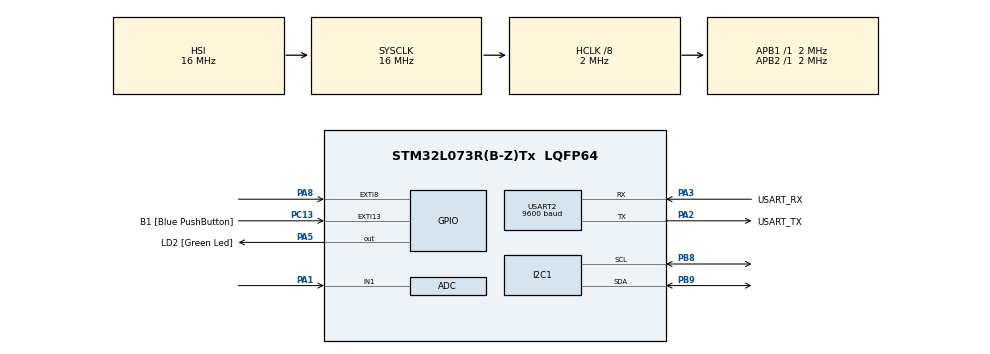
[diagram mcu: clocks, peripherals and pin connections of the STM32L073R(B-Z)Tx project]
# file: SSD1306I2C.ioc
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ADC.ContinuousConvMode=ENABLE
I2C1.Timing=0x00000509
Mcu.Family=STM32L0
Mcu.Name=STM32L073R(B-Z)Tx
Mcu.Package=LQFP64
NVIC.EXTI4_15_IRQn=true\:0\:0\:false\:false\:true\:true\:true\:true
NVIC.TIM6_DAC_IRQn=true\:0\:0\:false\:false\:true\:true\:true\:true
NVIC.TIM7_IRQn=true\:0\:0\:false\:false\:true\:true\:true\:true
PA1.Mode=IN1
PA1.Signal=ADC_IN1
PA13.GPIO_Label=TMS
PA13.Mode=Serial_Wire
PA13.Signal=SYS_SWDIO
PA14.GPIO_Label=TCK
PA14.Mode=Serial_Wire
PA14.Signal=SYS_SWCLK
PA2.GPIO_Label=USART_TX
PA2.Mode=Asynchronous
PA2.Signal=USART2_TX
PA3.GPIO_Label=USART_RX
PA3.Mode=Asynchronous
PA3.Signal=USART2_RX
PA5.GPIO_Label=LD2 [Green Led]
PA5.Signal=GPIO_Output
PA8.Signal=GPXTI8
PB8.GPIO_Pu=GPIO_PULLUP
PB8.Mode=I2C
PB8.Signal=I2C1_SCL
PB9.GPIO_Pu=GPIO_PULLUP
PB9.Mode=I2C
PB9.Signal=I2C1_SDA
PC13.GPIO_Label=B1 [Blue PushButton]
PC13.GPIO_ModeDefaultEXTI=GPIO_MODE_IT_FALLING
PC13.Signal=GPXTI13
PC14-OSC32_IN.Mode=LSE-External-Oscillator
PC14-OSC32_IN.Signal=RCC_OSC32_IN
PC15-OSC32_OUT.Mode=LSE-External-Oscillator
PC15-OSC32_OUT.Signal=RCC_OSC32_OUT
PH0-OSC_IN.GPIO_Label=MCO
PH0-OSC_IN.Mode=HSE-External-Clock-Source
PH0-OSC_IN.Signal=RCC_OSC_IN
ProjectManager.HeapSize=0x200
ProjectManager.StackSize=0x400
ProjectManager.TargetToolchain=STM32CubeIDE
RCC.AHBCLKDivider=RCC_SYSCLK_DIV8
RCC.AHBFreq_Value=2000000
RCC.APB1Freq_Value=2000000
RCC.APB1TimFreq_Value=2000000
RCC.APB2Freq_Value=2000000
RCC.APB2TimFreq_Value=2000000
RCC.HCLKFreq_Value=2000000
RCC.HSE_VALUE=8000000
RCC.HSI16_VALUE=16000000
RCC.HSI48_VALUE=48000000
RCC.HSI_VALUE=16000000
RCC.MSI_VALUE=2097000
RCC.SYSCLKFreq_VALUE=16000000
RCC.SYSCLKSource=RCC_SYSCLKSOURCE_HSI
RCC.VCOOutputFreq_Value=48000000
TIM6.Period=2000-1
TIM7.Period=1000-1
TIM7.Prescaler=20000-1
USART2.BaudRate=9600
USART2.VirtualMode-Asynchronous=VM_ASYNC
VP_TIM6_VS_ClockSourceINT.Mode=Enable_Timer
VP_TIM7_VS_ClockSourceINT.Mode=Enable_Timer
board=NUCLEO-L073RZ

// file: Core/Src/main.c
/* USER CODE BEGIN Header */
/**
  ******************************************************************************
  * @file           : main.c
  * @brief          : Main program body
  ******************************************************************************
  * @attention
  *
  * Copyright (c) 2024 STMicroelectronics.
  * All rights reserved.
  *
  * This software is licensed under terms that can be found in the LICENSE file
  * in the root directory of this software component.
  * If no LICENSE file comes with this software, it is provided AS-IS.
  *
  ******************************************************************************
  */
/* USER CODE END Header */
#include "main.h"

/* USER CODE BEGIN Includes */
#include "ssd1306.h"
#include "ssd1306_fonts.h"
#include "ssd1306_tests.h"
#include "ssd1306_conf.h"
#include "stdio.h"
/* USER CODE END Includes */

ADC_HandleTypeDef hadc;

I2C_HandleTypeDef hi2c1;

TIM_HandleTypeDef htim6;
TIM_HandleTypeDef htim7;

UART_HandleTypeDef huart2;

void SystemClock_Config(void);
static void MX_GPIO_Init(void);
static void MX_I2C1_Init(void);
static void MX_USART2_UART_Init(void);
static void MX_TIM6_Init(void);
static void MX_ADC_Init(void);
static void MX_TIM7_Init(void);

/* USER CODE BEGIN 0 */
int suvis = 0;
uint32_t adcValue;
float itampa = 0.0;
char suvis_display[40];
char itampa_display[40];
typedef enum {DATA_READY,DATA_WAIT,DATA_RESET}SData;
SData status = DATA_WAIT;
int measureVoltage = 0;
uint8_t suvis_total = 0;
uint8_t pertaisymai = 0;

uint8_t time = 0;

char rx_data[10];
uint8_t rx_index = 0;
char rx_char;
char buff[12];

#ifdef __GNUC__
#define PUTCHAR_PROTOTYPE int __io_putchar(int ch)
#else
#define PUTCHAR_PROTOTYPE int fputc(int ch, FILE *f)
#endif

PUTCHAR_PROTOTYPE
{
  HAL_UART_Transmit(&huart2, (uint8_t *)&ch, 1, HAL_MAX_DELAY);
  return ch;
}

void update_suvis()
{
	  sprintf(suvis_display,"S:%d     ",suvis);
	  ssd1306_SetCursor(0, 0);
	  ssd1306_WriteString(suvis_display,Font_16x15,White);
	  ssd1306_UpdateScreen();
}
void update_itampa()
{
	  sprintf(itampa_display,"U:%0.1fV",itampa);
	  ssd1306_SetCursor(0,15);
	  ssd1306_WriteString(itampa_display,Font_16x15,White);
	  ssd1306_UpdateScreen();
}

void HAL_GPIO_EXTI_Callback(uint16_t GPIO_Pin)
{
	if(GPIO_Pin == GPIO_PIN_8)
	{
		status = DATA_READY;
		suvis = suvis + 1;
		suvis_total = suvis_total + 1;
		HAL_TIM_Base_Start_IT(&htim6);
		HAL_NVIC_DisableIRQ(EXTI4_15_IRQn);
	}
	if(GPIO_Pin == GPIO_PIN_13)
	{
		status = DATA_RESET;
		suvis = 0;
		pertaisymai++;
	}
}
void HAL_TIM_PeriodElapsedCallback(TIM_HandleTypeDef *htim) {
    if (htim->Instance == TIM6) {
        HAL_NVIC_EnableIRQ(EXTI4_15_IRQn);
        HAL_TIM_Base_Stop(&htim6);
    }
    if (htim->Instance == TIM7) {
            measureVoltage = 1;
            time = time + 1;
        }

}
void sendData()
{
	snprintf(buff,12,"S %d %d %0.1f %d",suvis_total,pertaisymai,itampa,time);

}
/* USER CODE END 0 */

int main(void)
{

  /* MCU Configuration--------------------------------------------------------*/

  /* Reset of all peripherals, Initializes the Flash interface and the Systick. */
  HAL_Init();

  /* Configure the system clock */
  SystemClock_Config();

  /* Initialize all configured peripherals */
  MX_GPIO_Init();
  MX_I2C1_Init();
  MX_USART2_UART_Init();
  MX_TIM6_Init();
  MX_ADC_Init();
  MX_TIM7_Init();
  /* USER CODE BEGIN 2 */
  ssd1306_Init();

  update_suvis();
  update_itampa();
  HAL_TIM_Base_Start_IT(&htim7);

  /* USER CODE END 2 */

  /* Infinite loop */
  /* USER CODE BEGIN WHILE */
  while (1)
  {
	  if(HAL_UART_Receive(&huart2, (uint8_t*)&rx_char, 1, HAL_MAX_DELAY) == HAL_OK)
	  {

		  if (rx_char == 'A')
		  {

			  sendData();
			  printf("%s E\n",buff);
			  HAL_UART_Receive(&huart2, (uint8_t*)&rx_char, 1, HAL_MAX_DELAY);
			  suvis_total = 0;
			  time = 0;
			  pertaisymai = 0;

		  }

	  }
	  if(measureVoltage){
		  float koef = 3.3/4095;
		  float dal_it = 0.0;
		  float R1 = 180;
		  float R2 = 120;
		  measureVoltage = 0;
		  HAL_ADC_Start(&hadc);
	      HAL_ADC_PollForConversion(&hadc, HAL_MAX_DELAY);
	      adcValue = HAL_ADC_GetValue(&hadc);

	      dal_it = adcValue*koef;
	      itampa = dal_it*(R1+R2)/R2;
	      update_itampa();
	  }
	  if(status == DATA_READY || status == DATA_RESET){
		  update_suvis();
		  status = DATA_WAIT;
	  }

    /* USER CODE END WHILE */

  }
}

void SystemClock_Config(void)
{
  RCC_OscInitTypeDef RCC_OscInitStruct = {0};
  RCC_ClkInitTypeDef RCC_ClkInitStruct = {0};
  RCC_PeriphCLKInitTypeDef PeriphClkInit = {0};

  /** Configure the main internal regulator output voltage
  */
  __HAL_PWR_VOLTAGESCALING_CONFIG(PWR_REGULATOR_VOLTAGE_SCALE1);

  /** Initializes the RCC Oscillators according to the specified parameters
  * in the RCC_OscInitTypeDef structure.
  */
  RCC_OscInitStruct.OscillatorType = RCC_OSCILLATORTYPE_HSI;
  RCC_OscInitStruct.HSIState = RCC_HSI_ON;
  RCC_OscInitStruct.HSICalibrationValue = RCC_HSICALIBRATION_DEFAULT;
  RCC_OscInitStruct.PLL.PLLState = RCC_PLL_NONE;
  if (HAL_RCC_OscConfig(&RCC_OscInitStruct) != HAL_OK)
  {
    Error_Handler();
  }

  /** Initializes the CPU, AHB and APB buses clocks
  */
  RCC_ClkInitStruct.ClockType = RCC_CLOCKTYPE_HCLK|RCC_CLOCKTYPE_SYSCLK
                              |RCC_CLOCKTYPE_PCLK1|RCC_CLOCKTYPE_PCLK2;
  RCC_ClkInitStruct.SYSCLKSource = RCC_SYSCLKSOURCE_HSI;
  RCC_ClkInitStruct.AHBCLKDivider = RCC_SYSCLK_DIV8;
  RCC_ClkInitStruct.APB1CLKDivider = RCC_HCLK_DIV1;
  RCC_ClkInitStruct.APB2CLKDivider = RCC_HCLK_DIV1;

  if (HAL_RCC_ClockConfig(&RCC_ClkInitStruct, FLASH_LATENCY_0) != HAL_OK)
  {
    Error_Handler();
  }
  PeriphClkInit.PeriphClockSelection = RCC_PERIPHCLK_USART2|RCC_PERIPHCLK_I2C1;
  PeriphClkInit.Usart2ClockSelection = RCC_USART2CLKSOURCE_PCLK1;
  PeriphClkInit.I2c1ClockSelection = RCC_I2C1CLKSOURCE_PCLK1;
  if (HAL_RCCEx_PeriphCLKConfig(&PeriphClkInit) != HAL_OK)
  {
    Error_Handler();
  }
}

static void MX_ADC_Init(void)
{

  ADC_ChannelConfTypeDef sConfig = {0};

  /** Configure the global features of the ADC (Clock, Resolution, Data Alignment and number of conversion)
  */
  hadc.Instance = ADC1;
  hadc.Init.OversamplingMode = DISABLE;
  hadc.Init.ClockPrescaler = ADC_CLOCK_SYNC_PCLK_DIV2;
  hadc.Init.Resolution = ADC_RESOLUTION_12B;
  hadc.Init.SamplingTime = ADC_SAMPLETIME_1CYCLE_5;
  hadc.Init.ScanConvMode = ADC_SCAN_DIRECTION_FORWARD;
  hadc.Init.DataAlign = ADC_DATAALIGN_RIGHT;
  hadc.Init.ContinuousConvMode = ENABLE;
  hadc.Init.DiscontinuousConvMode = DISABLE;
  hadc.Init.ExternalTrigConvEdge = ADC_EXTERNALTRIGCONVEDGE_NONE;
  hadc.Init.ExternalTrigConv = ADC_SOFTWARE_START;
  hadc.Init.DMAContinuousRequests = DISABLE;
  hadc.Init.EOCSelection = ADC_EOC_SINGLE_CONV;
  hadc.Init.Overrun = ADC_OVR_DATA_PRESERVED;
  hadc.Init.LowPowerAutoWait = DISABLE;
  hadc.Init.LowPowerFrequencyMode = ENABLE;
  hadc.Init.LowPowerAutoPowerOff = DISABLE;
  if (HAL_ADC_Init(&hadc) != HAL_OK)
  {
    Error_Handler();
  }

  /** Configure for the selected ADC regular channel to be converted.
  */
  sConfig.Channel = ADC_CHANNEL_1;
  sConfig.Rank = ADC_RANK_CHANNEL_NUMBER;
  if (HAL_ADC_ConfigChannel(&hadc, &sConfig) != HAL_OK)
  {
    Error_Handler();
  }

}

static void MX_I2C1_Init(void)
{

  hi2c1.Instance = I2C1;
  hi2c1.Init.Timing = 0x00000509;
  hi2c1.Init.OwnAddress1 = 0;
  hi2c1.Init.AddressingMode = I2C_ADDRESSINGMODE_7BIT;
  hi2c1.Init.DualAddressMode = I2C_DUALADDRESS_DISABLE;
  hi2c1.Init.OwnAddress2 = 0;
  hi2c1.Init.OwnAddress2Masks = I2C_OA2_NOMASK;
  hi2c1.Init.GeneralCallMode = I2C_GENERALCALL_DISABLE;
  hi2c1.Init.NoStretchMode = I2C_NOSTRETCH_DISABLE;
  if (HAL_I2C_Init(&hi2c1) != HAL_OK)
  {
    Error_Handler();
  }

  /** Configure Analogue filter
  */
  if (HAL_I2CEx_ConfigAnalogFilter(&hi2c1, I2C_ANALOGFILTER_ENABLE) != HAL_OK)
  {
    Error_Handler();
  }

  /** Configure Digital filter
  */
  if (HAL_I2CEx_ConfigDigitalFilter(&hi2c1, 0) != HAL_OK)
  {
    Error_Handler();
  }

}

static void MX_TIM6_Init(void)
{

  TIM_MasterConfigTypeDef sMasterConfig = {0};

  htim6.Instance = TIM6;
  htim6.Init.Prescaler = 0;
  htim6.Init.CounterMode = TIM_COUNTERMODE_UP;
  htim6.Init.Period = 2000-1;
  htim6.Init.AutoReloadPreload = TIM_AUTORELOAD_PRELOAD_DISABLE;
  if (HAL_TIM_Base_Init(&htim6) != HAL_OK)
  {
    Error_Handler();
  }
  sMasterConfig.MasterOutputTrigger = TIM_TRGO_RESET;
  sMasterConfig.MasterSlaveMode = TIM_MASTERSLAVEMODE_DISABLE;
  if (HAL_TIMEx_MasterConfigSynchronization(&htim6, &sMasterConfig) != HAL_OK)
  {
    Error_Handler();
  }

}

static void MX_TIM7_Init(void)
{

  TIM_MasterConfigTypeDef sMasterConfig = {0};

  htim7.Instance = TIM7;
  htim7.Init.Prescaler = 20000-1;
  htim7.Init.CounterMode = TIM_COUNTERMODE_UP;
  htim7.Init.Period = 1000-1;
  htim7.Init.AutoReloadPreload = TIM_AUTORELOAD_PRELOAD_DISABLE;
  if (HAL_TIM_Base_Init(&htim7) != HAL_OK)
  {
    Error_Handler();
  }
  sMasterConfig.MasterOutputTrigger = TIM_TRGO_RESET;
  sMasterConfig.MasterSlaveMode = TIM_MASTERSLAVEMODE_DISABLE;
  if (HAL_TIMEx_MasterConfigSynchronization(&htim7, &sMasterConfig) != HAL_OK)
  {
    Error_Handler();
  }

}

static void MX_USART2_UART_Init(void)
{

  huart2.Instance = USART2;
  huart2.Init.BaudRate = 9600;
  huart2.Init.WordLength = UART_WORDLENGTH_8B;
  huart2.Init.StopBits = UART_STOPBITS_1;
  huart2.Init.Parity = UART_PARITY_NONE;
  huart2.Init.Mode = UART_MODE_TX_RX;
  huart2.Init.HwFlowCtl = UART_HWCONTROL_NONE;
  huart2.Init.OverSampling = UART_OVERSAMPLING_16;
  huart2.Init.OneBitSampling = UART_ONE_BIT_SAMPLE_DISABLE;
  huart2.AdvancedInit.AdvFeatureInit = UART_ADVFEATURE_NO_INIT;
  if (HAL_UART_Init(&huart2) != HAL_OK)
  {
    Error_Handler();
  }

}

static void MX_GPIO_Init(void)
{
  GPIO_InitTypeDef GPIO_InitStruct = {0};

  /* GPIO Ports Clock Enable */
  __HAL_RCC_GPIOC_CLK_ENABLE();
  __HAL_RCC_GPIOH_CLK_ENABLE();
  __HAL_RCC_GPIOA_CLK_ENABLE();
  __HAL_RCC_GPIOB_CLK_ENABLE();

  /*Configure GPIO pin Output Level */
  HAL_GPIO_WritePin(LD2_GPIO_Port, LD2_Pin, GPIO_PIN_RESET);

  /*Configure GPIO pin : B1_Pin */
  GPIO_InitStruct.Pin = B1_Pin;
  GPIO_InitStruct.Mode = GPIO_MODE_IT_FALLING;
  GPIO_InitStruct.Pull = GPIO_NOPULL;
  HAL_GPIO_Init(B1_GPIO_Port, &GPIO_InitStruct);

  /*Configure GPIO pin : LD2_Pin */
  GPIO_InitStruct.Pin = LD2_Pin;
  GPIO_InitStruct.Mode = GPIO_MODE_OUTPUT_PP;
  GPIO_InitStruct.Pull = GPIO_NOPULL;
  GPIO_InitStruct.Speed = GPIO_SPEED_FREQ_LOW;
  HAL_GPIO_Init(LD2_GPIO_Port, &GPIO_InitStruct);

  /*Configure GPIO pin : PA8 */
  GPIO_InitStruct.Pin = GPIO_PIN_8;
  GPIO_InitStruct.Mode = GPIO_MODE_IT_RISING;
  GPIO_InitStruct.Pull = GPIO_NOPULL;
  HAL_GPIO_Init(GPIOA, &GPIO_InitStruct);

  /* EXTI interrupt init*/
  HAL_NVIC_SetPriority(EXTI4_15_IRQn, 0, 0);
  HAL_NVIC_EnableIRQ(EXTI4_15_IRQn);

}

void Error_Handler(void)
{
  __disable_irq();
  while (1)
  {
  }
}
